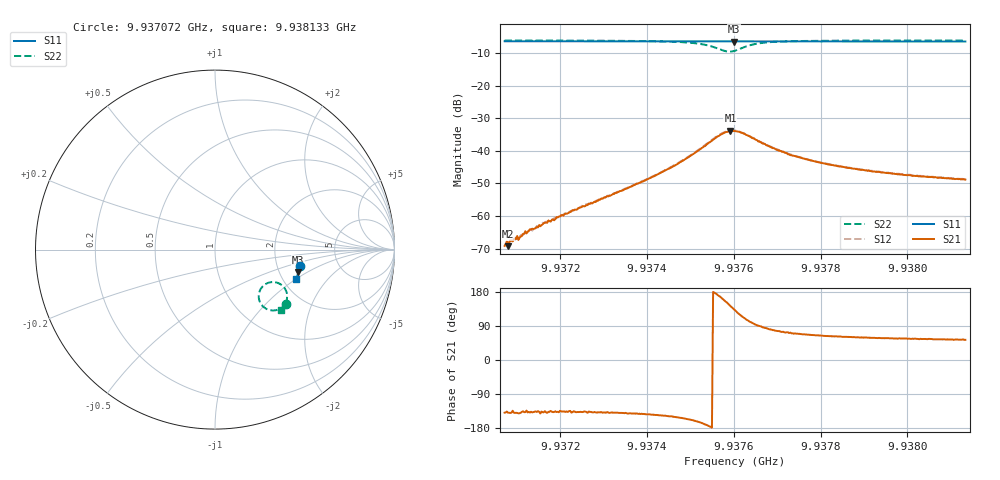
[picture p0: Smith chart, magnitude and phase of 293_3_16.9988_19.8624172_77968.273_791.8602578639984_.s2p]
#  HZ  S  RI  R  50.00
! Rohde & Schwarz Vector Network Analyzer
! Rohde-Schwarz,ZNB20-2Port,1311601062101988,3.16
! Created: UTC 3/20/2024, 11:05:12 PM
! freq[Hz]  re:S11  im:S11  re:S21  im:S21  re:S12  im:S12  re:S22  im:S22
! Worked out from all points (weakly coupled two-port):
!   401 points, 9.937072 GHz to 9.938133 GHz, reference 50 ohm
!   highest |S21| = -33.79 dB at 9.937592 GHz (marker M1); lowest = -69.3 dB at 9.93708 GHz (marker M2)
!   lowest |S11| = -6.4 dB at 9.9376 GHz (marker M3), VSWR 2.84, Z = 127 - j41.4 ohm
!   |S11| at or under -10 dB: nowhere
!   |S22| runs from -9.5 to -6.0 dB; largest |S21 - S12| = 0.00088
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9.9370721e9  0.4757 -0.0924  -0.000262 -0.000228  -0.000288 -0.000217  0.395 -0.3039
9.93708e9  0.4755 -0.093  -0.00026 -0.000226  -0.000276 -0.000279  0.3943 -0.3045
9.9371092e9  0.4749 -0.0949  -0.000367 -0.000317  -0.000372 -0.000342  0.3921 -0.3067
9.9371145e9  0.4747 -0.0953  -0.000378 -0.000373  -0.000385 -0.00035  0.392 -0.3069
9.9371304e9  0.4744 -0.0963  -0.000468 -0.000413  -0.000462 -0.000405  0.3906 -0.308
9.9371596e9  0.474 -0.0984  -0.000552 -0.000502  -0.000567 -0.000546  0.3884 -0.3102
9.9372498e9  0.4722 -0.1045  -0.00101 -0.000932  -0.00107 -0.000956  0.38 -0.3177
9.9373321e9  0.4707 -0.1101  -0.00175 -0.00152  -0.00182 -0.00151  0.3695 -0.3251
9.9374276e9  0.4685 -0.1165  -0.0037 -0.00251  -0.00378 -0.00249  0.348 -0.3356
9.9374833e9  0.4669 -0.1203  -0.00639 -0.00316  -0.00657 -0.00312  0.3228 -0.3393
9.9375337e9  0.4652 -0.1237  -0.0117 -0.00204  -0.0122 -0.00199  0.278 -0.3251
9.9375682e9  0.4637 -0.1252  -0.0171 0.00387  -0.0174 0.00444  0.2441 -0.2696
9.9375921e9  0.4632 -0.1257  -0.0162 0.0124  -0.016 0.0131  0.2652 -0.2056
9.9376001e9  0.463 -0.1259  -0.0141 0.0146  -0.0138 0.0153  0.2845 -0.1907
9.9376027e9  0.4632 -0.1263  -0.0133 0.0152  -0.0131 0.016  0.2918 -0.187
9.9376213e9  0.4633 -0.1269  -0.0073 0.0172  -0.00688 0.0175  0.3417 -0.1832
9.9376585e9  0.4633 -0.1295  -9.7e-06 0.014  0.000452 0.0141  0.3922 -0.2217
9.9377301e9  0.4623 -0.1348  0.00261 0.00822  0.00296 0.00834  0.4014 -0.2735
9.9377805e9  0.4612 -0.1383  0.00287 0.00646  0.00303 0.00643  0.3968 -0.2911
9.9378654e9  0.4593 -0.144  0.0027 0.00477  0.0028 0.00478  0.3885 -0.3079
9.9379583e9  0.4569 -0.1502  0.00247 0.00383  0.00255 0.0038  0.3806 -0.3194
9.9381334e9  0.4523 -0.1615  0.00217 0.00291  0.00221 0.00292  0.3681 -0.3341
